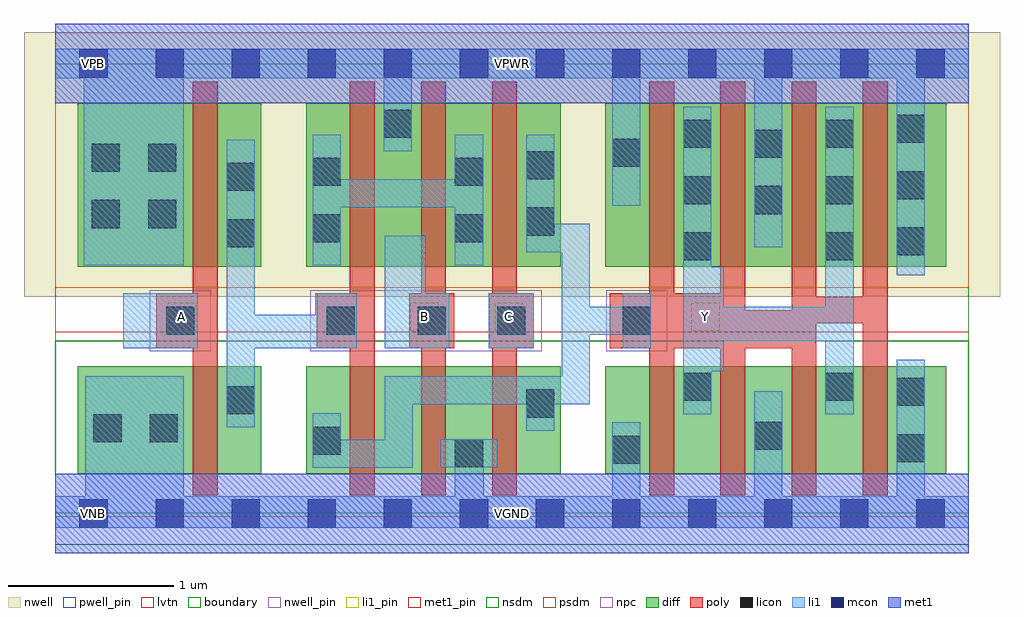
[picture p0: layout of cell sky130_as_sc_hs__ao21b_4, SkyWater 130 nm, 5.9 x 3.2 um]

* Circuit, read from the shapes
.subckt sky130_as_sc_hs__ao21b_4 A B C VGND VNB VPB VPWR Y
XM1 n1 A VGND VNB sky130_fd_pr__nfet_01v8_lvt w=0.65 l=0.15
XM2 n2 n1 n3 VNB sky130_fd_pr__nfet_01v8_lvt w=0.65 l=0.15
XM3 VGND B n2 VNB sky130_fd_pr__nfet_01v8_lvt w=0.65 l=0.15
XM4 n3 C VGND VNB sky130_fd_pr__nfet_01v8_lvt w=0.65 l=0.15
XM5 Y n3 VGND VNB sky130_fd_pr__nfet_01v8_lvt w=0.65 l=0.15 m=4
XM6 n1 A VPWR VPB sky130_fd_pr__pfet_01v8 w=0.99 l=0.15
XM7 VPWR n1 n4 VPB sky130_fd_pr__pfet_01v8 w=0.99 l=0.15
XM8 n4 B VPWR VPB sky130_fd_pr__pfet_01v8 w=0.99 l=0.15
XM9 n3 C n4 VPB sky130_fd_pr__pfet_01v8 w=0.99 l=0.15
XM10 Y n3 VPWR VPB sky130_fd_pr__pfet_01v8 w=0.99 l=0.15 m=4
.ends

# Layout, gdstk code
import gdstk
lib = gdstk.Library(unit=1e-6, precision=1e-09)
def R(c, l, rs):  # rectangles x0, y0, x1, y1
    for r in rs: c.add(gdstk.rectangle(r[:2], r[2:], *l))
def A(c, l, x, y, w, h, nx, ny, dx, dy):  # array of equal rectangles
    R(c, l, [(x+i*dx, y+j*dy, x+i*dx+w, y+j*dy+h) for i in range(nx) for j in range(ny)])
nwell_pin = (64, 16)
nwell = (64, 20)
diff = (65, 20)
poly = (66, 20)
licon = (66, 44)
li1_pin = (67, 16)
li1 = (67, 20)
mcon = (67, 44)
met1_pin = (68, 16)
met1 = (68, 20)
nsdm = (93, 44)
psdm = (94, 20)
npc = (95, 20)
pwell_pin = (122, 16)
lvtn = (125, 44)
boundary = (235, 4)

sky130_as_sc_hs__ao21b_4 = lib.new_cell('sky130_as_sc_hs__ao21b_4')
R(sky130_as_sc_hs__ao21b_4, nwell_pin, [(0.145,2.635,0.315,2.805)])
R(sky130_as_sc_hs__ao21b_4, nwell, [(-0.19,1.31,5.71,2.91)])
R(sky130_as_sc_hs__ao21b_4, diff, [(0.135,0.24,1.245,0.89), (1.515,0.24,3.055,0.89), (3.325,0.24,5.385,0.89), (0.135,1.49,1.245,2.48), (1.515,1.49,3.055,2.48), (3.325,1.49,5.385,2.48)])
A(sky130_as_sc_hs__ao21b_4, poly, 1.78, 0.11, 0.15, 0.89, 3, 1, 0.43, 0)
A(sky130_as_sc_hs__ao21b_4, poly, 3.59, 0.11, 0.15, 0.89, 3, 1, 0.43, 0)
A(sky130_as_sc_hs__ao21b_4, poly, 1.78, 1.33, 0.15, 1.28, 3, 1, 0.43, 0)
R(sky130_as_sc_hs__ao21b_4, poly, [(0.83,0.11,0.98,1), (4.88,0.11,5.03,1.15), (0.61,1,0.98,1.33), (1.58,1,1.93,1.33), (2.14,1,2.41,1.33), (2.62,1,2.89,1.33), (3.35,1,4.6,1.15), (3.35,1.15,5.03,1.23), (3.35,1.23,4.17,1.33), (4.45,1.23,5.03,1.31), (4.45,1.31,4.6,2.61), (4.88,1.31,5.03,2.61), (0.83,1.33,0.98,2.61), (3.59,1.33,3.74,2.61), (4.02,1.33,4.17,2.61)])
A(sky130_as_sc_hs__ao21b_4, licon, 3.795, 1.53, 0.17, 0.17, 1, 3, 0, 0.34)
A(sky130_as_sc_hs__ao21b_4, licon, 4.655, 1.53, 0.17, 0.17, 1, 3, 0, 0.34)
A(sky130_as_sc_hs__ao21b_4, licon, 5.085, 1.56, 0.17, 0.17, 1, 3, 0, 0.34)
R(sky130_as_sc_hs__ao21b_4, licon, [(2.415,0.28,2.585,0.45), (3.365,0.3,3.535,0.47), (5.085,0.31,5.255,0.48), (1.555,0.355,1.725,0.525), (4.225,0.385,4.395,0.555), (0.23,0.43,0.4,0.6), (0.57,0.43,0.74,0.6), (2.845,0.58,3.015,0.75), (1.035,0.6,1.205,0.77), (5.085,0.65,5.255,0.82), (3.795,0.68,3.965,0.85), (4.655,0.68,4.825,0.85), (0.67,1.08,0.84,1.25), (1.64,1.08,1.81,1.25), (2.19,1.08,2.36,1.25), (2.67,1.08,2.84,1.25), (3.43,1.08,3.6,1.25), (1.035,1.61,1.205,1.78), (1.555,1.64,1.725,1.81), (2.415,1.64,2.585,1.81), (2.845,1.68,3.015,1.85), (0.22,1.725,0.39,1.895), (0.56,1.725,0.73,1.895), (4.225,1.81,4.395,1.98), (1.035,1.95,1.205,2.12), (1.555,1.98,1.725,2.15), (2.415,1.98,2.585,2.15), (2.845,2.02,3.015,2.19), (0.22,2.065,0.39,2.235), (0.56,2.065,0.73,2.235), (3.365,2.095,3.535,2.265), (4.225,2.15,4.395,2.32), (1.985,2.27,2.155,2.44)])
R(sky130_as_sc_hs__ao21b_4, li1_pin, [(0.68,1.105,0.85,1.275), (2.145,1.105,2.315,1.275), (2.655,1.105,2.825,1.275), (3.845,1.105,4.015,1.275)])
R(sky130_as_sc_hs__ao21b_4, li1, [(0,-0.085,5.52,0.105), (0.18,0.105,0.775,0.83), (2.415,0.105,2.59,0.28), (3.365,0.105,3.535,0.55), (4.225,0.105,4.395,0.74), (5.085,0.105,5.255,0.93), (1.555,0.275,2.16,0.445), (2.33,0.28,2.67,0.45), (1.555,0.445,1.725,0.605), (1.99,0.445,2.16,0.66), (2.845,0.5,3.015,0.66), (1.035,0.52,1.205,1), (3.795,0.6,3.965,0.86), (4.655,0.6,4.825,1.04), (1.99,0.66,3.23,0.83), (3.06,0.83,3.23,1.08), (3.795,0.86,4.04,1.04), (0.41,1,0.86,1.33), (1.035,1,1.82,1.2), (1.99,1,2.38,1.33), (2.62,1,2.89,1.33), (3.43,1,3.6,1.08), (3.795,1.04,4.825,1.25), (3.06,1.08,3.6,1.25), (1.035,1.2,1.205,2.26), (1.57,1.2,1.82,1.33), (3.06,1.25,3.23,1.58), (3.43,1.25,3.6,1.33), (3.795,1.25,4.04,1.49), (4.655,1.25,4.825,2.46), (1.99,1.33,2.24,1.68), (5.085,1.44,5.255,2.63), (3.795,1.49,3.965,2.46), (0.17,1.5,0.775,2.63), (1.555,1.5,1.725,1.85), (2.415,1.5,2.585,1.85), (2.845,1.58,3.23,1.75), (4.225,1.61,4.395,2.63), (2.845,1.75,3.015,2.29), (1.555,1.85,2.585,2.02), (3.365,1.86,3.535,2.63), (1.555,2.02,1.725,2.29), (2.415,2.02,2.585,2.29), (1.985,2.19,2.155,2.63), (0,2.63,5.52,2.81)])
A(sky130_as_sc_hs__ao21b_4, mcon, 0.145, -0.085, 0.17, 0.17, 12, 2, 0.46, 2.72)
R(sky130_as_sc_hs__ao21b_4, met1_pin, [(0,-0.24,5.52,0.24), (0.145,-0.085,0.315,0.085), (0,2.48,5.52,2.96), (0.145,2.635,0.315,2.805)])
R(sky130_as_sc_hs__ao21b_4, met1, [(0,-0.24,5.52,0.24), (0,2.48,5.52,2.96)])
R(sky130_as_sc_hs__ao21b_4, nsdm, [(0,-0.19,5.52,1.045)])
R(sky130_as_sc_hs__ao21b_4, psdm, [(0,1.365,5.52,2.91)])
R(sky130_as_sc_hs__ao21b_4, npc, [(0.57,0.98,0.94,1.35), (1.54,0.98,2.94,1.35), (3.33,0.98,3.7,1.35)])
R(sky130_as_sc_hs__ao21b_4, pwell_pin, [(0.145,-0.085,0.315,0.085)])
R(sky130_as_sc_hs__ao21b_4, lvtn, [(0,-0.02,5.52,1.1)])
R(sky130_as_sc_hs__ao21b_4, boundary, [(0,0,5.52,2.72)])
sky130_as_sc_hs__ao21b_4.add(gdstk.Label('VNB', (0.23,0), layer=64, texttype=59))
sky130_as_sc_hs__ao21b_4.add(gdstk.Label('VPB', (0.23,2.72), layer=64, texttype=5))
sky130_as_sc_hs__ao21b_4.add(gdstk.Label('A', (0.765,1.19), layer=67, texttype=5))
sky130_as_sc_hs__ao21b_4.add(gdstk.Label('B', (2.23,1.19), layer=67, texttype=5))
sky130_as_sc_hs__ao21b_4.add(gdstk.Label('C', (2.74,1.19), layer=67, texttype=5))
sky130_as_sc_hs__ao21b_4.add(gdstk.Label('Y', (3.93,1.19), layer=67, texttype=5))
sky130_as_sc_hs__ao21b_4.add(gdstk.Label('VNB', (0.23,0), layer=64, texttype=59))
sky130_as_sc_hs__ao21b_4.add(gdstk.Label('VPB', (0.23,2.72), layer=64, texttype=5))
sky130_as_sc_hs__ao21b_4.add(gdstk.Label('VPWR', (2.76,2.72), layer=68, texttype=5))
sky130_as_sc_hs__ao21b_4.add(gdstk.Label('VPWR', (0.23,2.72), layer=68, texttype=5))
sky130_as_sc_hs__ao21b_4.add(gdstk.Label('VGND', (2.76,0), layer=68, texttype=5))
sky130_as_sc_hs__ao21b_4.add(gdstk.Label('VGND', (0.23,0), layer=68, texttype=5))
sky130_as_sc_hs__ao21b_4.add(gdstk.Label('A', (0.765,1.19), layer=67, texttype=5))
sky130_as_sc_hs__ao21b_4.add(gdstk.Label('B', (2.23,1.19), layer=67, texttype=5))
sky130_as_sc_hs__ao21b_4.add(gdstk.Label('C', (2.74,1.19), layer=67, texttype=5))
sky130_as_sc_hs__ao21b_4.add(gdstk.Label('Y', (3.93,1.19), layer=67, texttype=5))

lib.write_gds('sky130_as_sc_hs__ao21b_4.gds')
